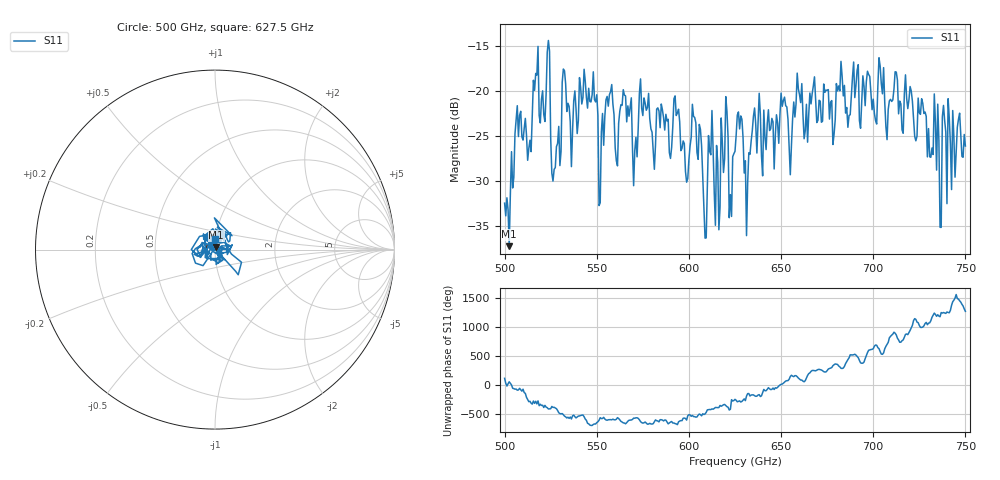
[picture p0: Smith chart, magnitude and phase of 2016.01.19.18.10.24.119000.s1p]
!Created with skrf (http://scikit-rf.org).
# GHz S RI R 50.0
!freq ReS11 ImS11
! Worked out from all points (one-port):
!   401 points, 500 GHz to 750 GHz, reference 50 ohm
!   lowest |S11| = -37.3 dB at 502.5 GHz (marker M1), VSWR 1.03, Z = 50.7 + j1.19 ohm
!   |S11| at or under -10 dB: start of sweep to end of sweep
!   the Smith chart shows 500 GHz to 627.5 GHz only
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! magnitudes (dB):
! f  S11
! 500 GHz  -32.5
! 502.5 GHz  -37.3
! 507.5 GHz  -25.1
! 513.8 GHz  -25.5
! 516.9 GHz  -18.1
! 523.8 GHz  -14.4
! 526.9 GHz  -28.7
! 531.2 GHz  -19.1
! 548.8 GHz  -21.0
! 552.5 GHz  -24.6
! 556.9 GHz  -20.4
! 562.5 GHz  -22.3
! 593.8 GHz  -22.5
! 598.8 GHz  -30.2
! 603.1 GHz  -23.0
! 608.8 GHz  -36.4
! 611.9 GHz  -27.1
! 615.6 GHz  -27.9
! 625 GHz  -26.7
! 631.2 GHz  -36.1
! 635 GHz  -22.8
! 656.2 GHz  -23.1
! 660 GHz  -20.4
! 687.5 GHz  -22.7
! 718.8 GHz  -22.0
! 734.4 GHz  -28.8
! 735.6 GHz  -25.5
! 750 GHz  -26.1
